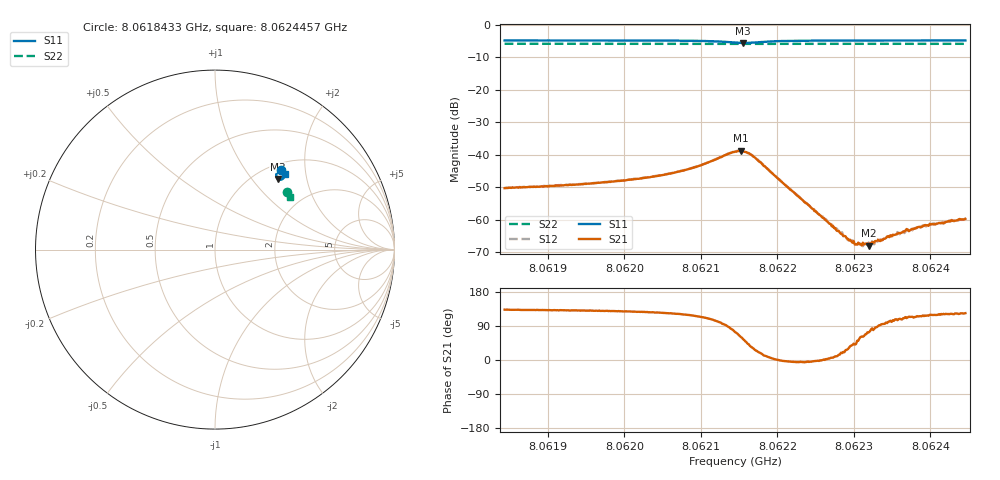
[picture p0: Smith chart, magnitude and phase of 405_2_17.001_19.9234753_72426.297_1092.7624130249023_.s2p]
#  HZ  S  RI  R  50.00
! Rohde & Schwarz Vector Network Analyzer
! Rohde-Schwarz,ZNB20-2Port,1311601062101988,3.16
! Created: UTC 3/20/2024, 11:10:13 PM
! freq[Hz]  re:S11  im:S11  re:S21  im:S21  re:S12  im:S12  re:S22  im:S22
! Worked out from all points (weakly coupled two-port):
!   401 points, 8.0618433 GHz to 8.0624457 GHz, reference 50 ohm
!   highest |S21| = -38.68 dB at 8.062152 GHz (marker M1); lowest = -67.9 dB at 8.0623192 GHz (marker M2)
!   lowest |S11| = -5.6 dB at 8.062155 GHz (marker M3), VSWR 3.23, Z = 62.5 + j68.2 ohm
!   |S11| at or under -10 dB: nowhere
!   |S22| runs from -5.9 to -5.8 dB; largest |S21 - S12| = 0.00083
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8.06184332e9  0.3669 0.4441  -0.00209 0.00225  -0.00193 0.00241  0.3989 0.3211
8.06194421e9  0.3741 0.4377  -0.00232 0.00269  -0.00212 0.00283  0.4027 0.3159
8.06199843e9  0.3783 0.4333  -0.00248 0.00317  -0.00234 0.00331  0.4047 0.3132
8.06204511e9  0.3823 0.428  -0.00272 0.00392  -0.00252 0.00415  0.4064 0.3105
8.06208727e9  0.3861 0.419  -0.00289 0.00547  -0.00256 0.00568  0.4079 0.3082
8.0621445e9  0.3658 0.3895  0.00311 0.0108  0.00368 0.0108  0.4086 0.3044
8.06215203e9  0.3542 0.3914  0.00569 0.0102  0.00605 0.00969  0.4083 0.3044
8.06215504e9  0.3499 0.3941  0.00648 0.00927  0.00716 0.00903  0.4082 0.3042
8.06216257e9  0.3424 0.4039  0.00794 0.00697  0.0085 0.00645  0.4085 0.3045
8.0621701e9  0.3409 0.4149  0.00814 0.00423  0.00846 0.00374  0.4086 0.3047
8.0621957e9  0.3546 0.4335  0.00487 0.00021  0.00492 -3.81e-05  0.4104 0.3041
8.06224539e9  0.372 0.4345  0.00148 -9.45e-05  0.00153 -0.000216  0.413 0.3016
8.06229358e9  0.3798 0.4314  0.000407 0.000256  0.00044 0.000225  0.4148 0.299
8.06230412e9  0.381 0.4305  0.000264 0.00032  0.000291 0.000316  0.4153 0.2986
8.06231316e9  0.3819 0.4299  0.000186 0.000372  0.000194 0.000371  0.4155 0.2979
8.06231918e9  0.3825 0.4297  0.00012 0.000384  0.000141 0.000425  0.4157 0.2977
8.06232822e9  0.3835 0.429  3.06e-05 0.000477  6.57e-05 0.000471  0.416 0.2971
8.06233725e9  0.3842 0.4283  -4.07e-05 0.000483  -1.55e-05 0.00049  0.4164 0.2968
8.06234629e9  0.3851 0.4279  -0.00011 0.00053  -7.75e-05 0.000551  0.4167 0.2962
8.06236737e9  0.3869 0.4266  -0.00027 0.000628  -0.00021 0.000621  0.4175 0.2951
8.06239297e9  0.3888 0.4251  -0.000384 0.000738  -0.000319 0.000735  0.4184 0.2938
8.06244568e9  0.3925 0.4219  -0.000572 0.000862  -0.000527 0.000922  0.4202 0.291
